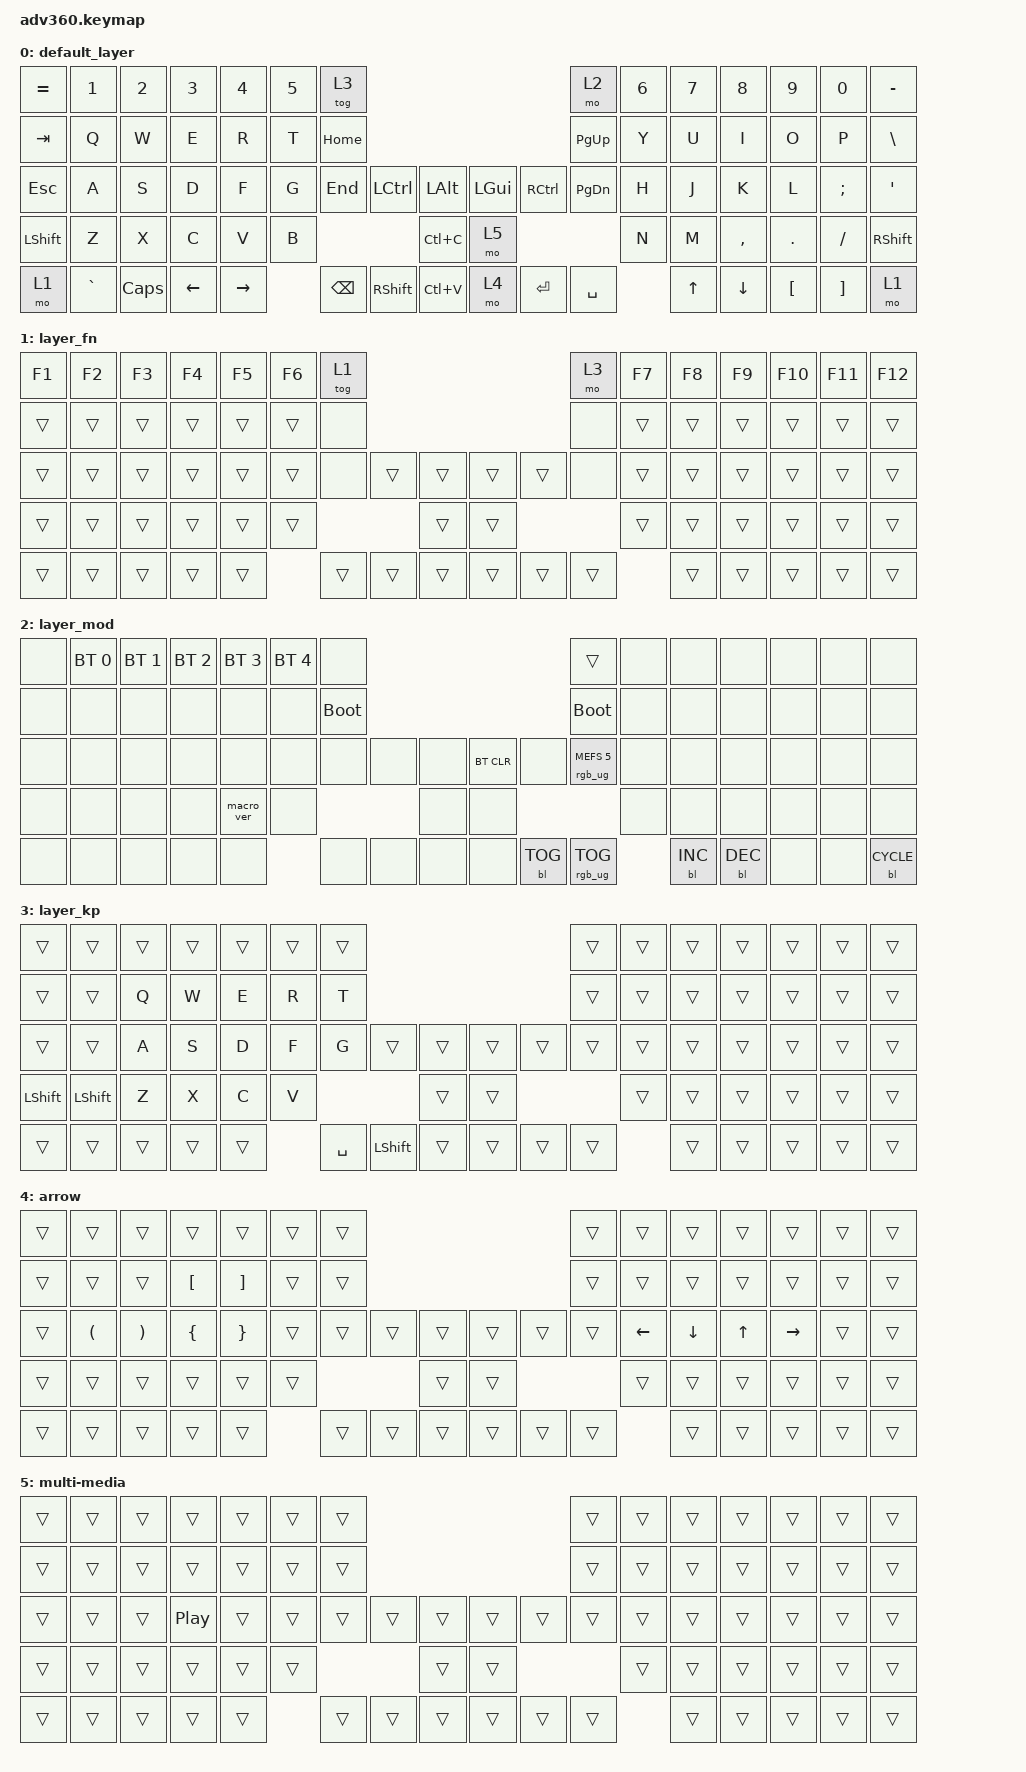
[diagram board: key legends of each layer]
/*
 * Copyright (c) 2020 The ZMK Contributors
 *
 * SPDX-License-Identifier: MIT
 */
/* THIS FILE WAS GENERATED!
 *
 * This file was generated automatically. You may or may not want to
 * edit it directly.
 */

#include <behaviors.dtsi>
#include <dt-bindings/zmk/backlight.h>
#include <dt-bindings/zmk/bt.h>
#include <dt-bindings/zmk/keys.h>
#include <dt-bindings/zmk/rgb.h>

/ {
    behaviors {
        #include "macros.dtsi"
    #include "version.dtsi"

        hm: homerow_mods {
            compatible = "zmk,behavior-hold-tap";
            label = "HOMEROW_MODS";
            #binding-cells = <2>;
            tapping-term-ms = <200>;
            quick_tap_ms = <175>;
            flavor = "tap-preferred";
            bindings = <&kp>, <&kp>;
        };
    };

    macros {
        copy_line: copy_line {
            compatible = "zmk,behavior-macro";
            #binding-cells = <0>;
            bindings = <&none &kp>, <&macro_press>;

            label = "COPY_LINE";
        };
    };

    keymap {
        compatible = "zmk,keymap";

        default_layer {
            bindings = <
&kp EQUAL  &kp N1     &kp N2    &kp N3    &kp N4     &kp N5  &tog 3                                                         &mo 2      &kp N6  &kp N7  &kp N8     &kp N9    &kp N0    &kp MINUS
&kp TAB    &kp Q      &kp W     &kp E     &kp R      &kp T   &kp HOME                                                       &kp PG_UP  &kp Y   &kp U   &kp I      &kp O     &kp P     &kp BSLH
&kp ESC    &kp A      &kp S     &kp D     &kp F      &kp G   &kp END   &kp LCTRL        &kp LALT       &kp LGUI  &kp RCTRL  &kp PG_DN  &kp H   &kp J   &kp K      &kp L     &kp SEMI  &kp SQT
&kp LSHFT  &kp Z      &kp X     &kp C     &kp V      &kp B                              &kp LC(C)      &mo 5                           &kp N   &kp M   &kp COMMA  &kp DOT   &kp FSLH  &kp RSHFT
&mo 1      &kp GRAVE  &kp CAPS  &kp LEFT  &kp RIGHT          &kp BSPC  &kp RIGHT_SHIFT  &kp LC(V)      &mo 4     &kp ENTER  &kp SPACE          &kp UP  &kp DOWN   &kp LBKT  &kp RBKT  &mo 1
            >;
        };

        layer_fn {
            bindings = <
&kp F1  &kp F2  &kp F3  &kp F4  &kp F5  &kp F6  &tog 1                                      &mo 3   &kp F7  &kp F8  &kp F9  &kp F10  &kp F11  &kp F12
&trans  &trans  &trans  &trans  &trans  &trans  &none                                       &none   &trans  &trans  &trans  &trans   &trans   &trans
&trans  &trans  &trans  &trans  &trans  &trans  &none   &trans  &trans      &trans  &trans  &none   &trans  &trans  &trans  &trans   &trans   &trans
&trans  &trans  &trans  &trans  &trans  &trans                  &trans      &trans                  &trans  &trans  &trans  &trans   &trans   &trans
&trans  &trans  &trans  &trans  &trans          &trans  &trans  &trans      &trans  &trans  &trans          &trans  &trans  &trans   &trans   &trans
            >;
        };

        layer_mod {
            bindings = <
&none  &bt BT_SEL 0  &bt BT_SEL 1  &bt BT_SEL 2  &bt BT_SEL 3  &bt BT_SEL 4  &none                                                  &trans                  &none  &none       &none       &none  &none  &none
&none  &none         &none         &none         &none         &none         &bootloader                                            &bootloader             &none  &none       &none       &none  &none  &none
&none  &none         &none         &none         &none         &none         &none        &none  &none      &bt BT_CLR  &none       &rgb_ug RGB_MEFS_CMD 5  &none  &none       &none       &none  &none  &none
&none  &none         &none         &none         &macro_ver    &none                             &none      &none                                           &none  &none       &none       &none  &none  &none
&none  &none         &none         &none         &none                       &none        &none  &none      &none       &bl BL_TOG  &rgb_ug RGB_TOG                &bl BL_INC  &bl BL_DEC  &none  &none  &bl BL_CYCLE
            >;
        };

        layer_kp {
            bindings = <
&trans          &trans          &trans  &trans  &trans  &trans  &trans                                                 &trans  &trans  &trans  &trans  &trans  &trans  &trans
&trans          &trans          &kp Q   &kp W   &kp E   &kp R   &kp T                                                  &trans  &trans  &trans  &trans  &trans  &trans  &trans
&trans          &trans          &kp A   &kp S   &kp D   &kp F   &kp G      &trans          &trans      &trans  &trans  &trans  &trans  &trans  &trans  &trans  &trans  &trans
&kp LEFT_SHIFT  &kp LEFT_SHIFT  &kp Z   &kp X   &kp C   &kp V                              &trans      &trans                  &trans  &trans  &trans  &trans  &trans  &trans
&trans          &trans          &trans  &trans  &trans          &kp SPACE  &kp LEFT_SHIFT  &trans      &trans  &trans  &trans          &trans  &trans  &trans  &trans  &trans
            >;
        };

        arrow {
            bindings = <
&trans  &trans                &trans                 &trans            &trans             &trans  &trans                                      &trans  &trans    &trans    &trans  &trans     &trans  &trans
&trans  &trans                &trans                 &kp LEFT_BRACKET  &kp RIGHT_BRACKET  &trans  &trans                                      &trans  &trans    &trans    &trans  &trans     &trans  &trans
&trans  &kp LEFT_PARENTHESIS  &kp RIGHT_PARENTHESIS  &kp LEFT_BRACE    &kp RIGHT_BRACE    &trans  &trans  &trans  &trans      &trans  &trans  &trans  &kp LEFT  &kp DOWN  &kp UP  &kp RIGHT  &trans  &trans
&trans  &trans                &trans                 &trans            &trans             &trans                  &trans      &trans                  &trans    &trans    &trans  &trans     &trans  &trans
&trans  &trans                &trans                 &trans            &trans                     &trans  &trans  &trans      &trans  &trans  &trans            &trans    &trans  &trans     &trans  &trans
            >;
        };

        multi-media {
            bindings = <
&trans  &trans  &trans  &trans            &trans  &trans  &trans                                      &trans  &trans  &trans  &trans  &trans  &trans  &trans
&trans  &trans  &trans  &trans            &trans  &trans  &trans                                      &trans  &trans  &trans  &trans  &trans  &trans  &trans
&trans  &trans  &trans  &kp C_PLAY_PAUSE  &trans  &trans  &trans  &trans  &trans      &trans  &trans  &trans  &trans  &trans  &trans  &trans  &trans  &trans
&trans  &trans  &trans  &trans            &trans  &trans                  &trans      &trans                  &trans  &trans  &trans  &trans  &trans  &trans
&trans  &trans  &trans  &trans            &trans          &trans  &trans  &trans      &trans  &trans  &trans          &trans  &trans  &trans  &trans  &trans
            >;
        };
    };
};
